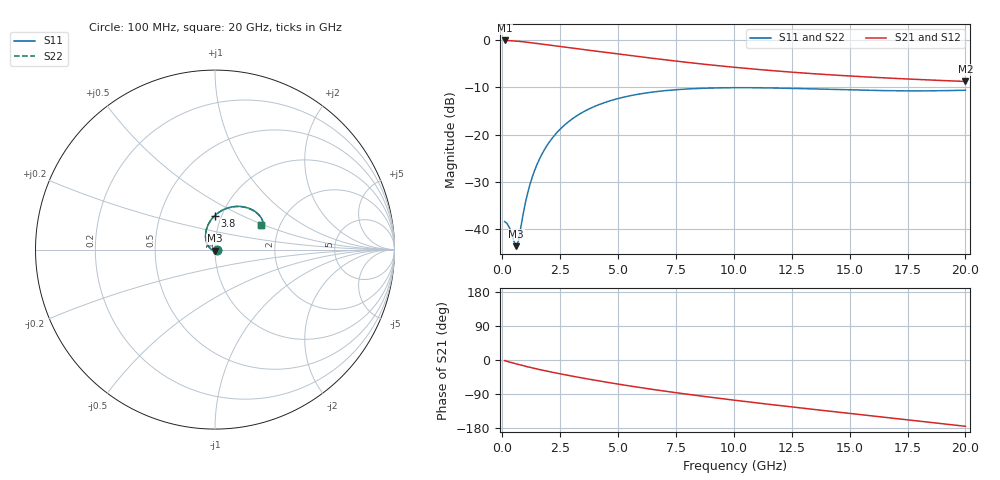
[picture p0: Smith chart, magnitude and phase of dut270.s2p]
! Touchstone file exported from HFSS 2024.1.0
!  File:  C:/UserFiles/LocalFiles/RDL_TSV_Batchsim/temp_RDL_TSV_270_1779461795.aedt
!  Generated:  11:08:52 PM May 22, 2026
!  Design:  RDL_TSV
!  Project:  temp_RDL_TSV_270_1779461795
!  Setup:  Setup1
!  Solution:  Sweep
! Variables:
!  dtsv = 14.15um
!  hbump = 3um
!  htsv = 68.76um
!  ldown = 624.39um
!  lrdl = 126.61um
!  p = 40
!  p1 = 57.68um
!  rhole = 10um
!  subl = 2379.61um
!  t = 450um
!  tdown = 4.01um
!  trdl = 2.97um
!  viad = 10um
!  wdown = 21.14um
!  wrdl = 15.5um
!  xbump = 18um
# GHz S MA R 50.000000
! Terminal data exported
! Port[1] = TM1_1_T1
! Port[2] = TM1_4_T1
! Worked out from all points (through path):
!   200 points, 100 MHz to 20 GHz, reference 50 ohm
!   highest |S21| = -0.11 dB at 100 MHz (marker M1); lowest = -8.8 dB at 20 GHz (marker M2)
!   group delay of S21, straight-line fit = 22.6 ps
!   lowest |S11| = -43.6 dB at 600 MHz (marker M3), VSWR 1.01, Z = 50 - j0.659 ohm
!   |S11| at or under -10 dB: start of sweep to end of sweep
!   |S22| runs from -43.6 to -10.1 dB; largest |S21 - S12| = 6.3e-14
!   S11 on the Smith chart (normalised r, x): 100 MHz: 1.02, -0.00; 3.8 GHz: 0.93, +0.36; 20 GHz: 1.61, +0.49
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0.1  0.012 -6.7  0.9872 -1.8  0.9872 -1.8  0.012 -6.7
! Gamma 0 0 0 0
! Port Impedance 50 0 50 0
0.3  0.01046 -25.2  0.9829 -5.2  0.9829 -5.2  0.01046 -25.2
0.5  0.007446 -60.3  0.976 -8.6  0.976 -8.6  0.007452 -60.3
0.6  0.006596 -91.8  0.9716 -10.2  0.9716 -10.2  0.006598 -91.7
0.7  0.007541 -127.4  0.9668 -11.8  0.9668 -11.8  0.007532 -127.3
0.9  0.01436 -170.2  0.9559 -15.0  0.9559 -15.0  0.01433 -170.1
1  0.01909 178.5  0.9499 -16.5  0.9499 -16.5  0.01905 178.5
1.2  0.0299 163.2  0.9373 -19.5  0.9373 -19.5  0.02984 163.2
1.4  0.04191 152.4  0.9241 -22.3  0.9241 -22.3  0.04183 152.4
1.7  0.06117 139.9  0.9039 -26.4  0.9039 -26.4  0.06105 139.9
2.1  0.08774 126.8  0.8773 -31.6  0.8773 -31.6  0.08756 126.8
2.5  0.114 116.2  0.8517 -36.5  0.8517 -36.5  0.1138 116.1
3  0.1451 105.0  0.8211 -42.4  0.8211 -42.4  0.1448 104.9
3.5  0.1734 95.5  0.7918 -48.0  0.7918 -48.0  0.1731 95.5
3.8  0.189 90.5  0.7748 -51.2  0.7748 -51.2  0.1886 90.5
5.1  0.2436 72.7  0.7055 -64.6  0.7055 -64.6  0.2429 72.6
6.8  0.2869 56.0  0.6261 -80.3  0.6261 -80.3  0.2861 56.0
8.4  0.3064 44.9  0.5642 -93.6  0.5642 -93.6  0.3054 44.9
10.1  0.3126 36.5  0.5116 -106.6  0.5116 -106.6  0.3115 36.5
13.4  0.3035 27.5  0.4399 -130.0  0.4399 -130.0  0.3023 27.5
16.7  0.2906 25.8  0.3947 -152.5  0.3947 -152.5  0.2893 25.8
20  0.294 28.3  0.3637 -175.0  0.3637 -175.0  0.2928 28.4
